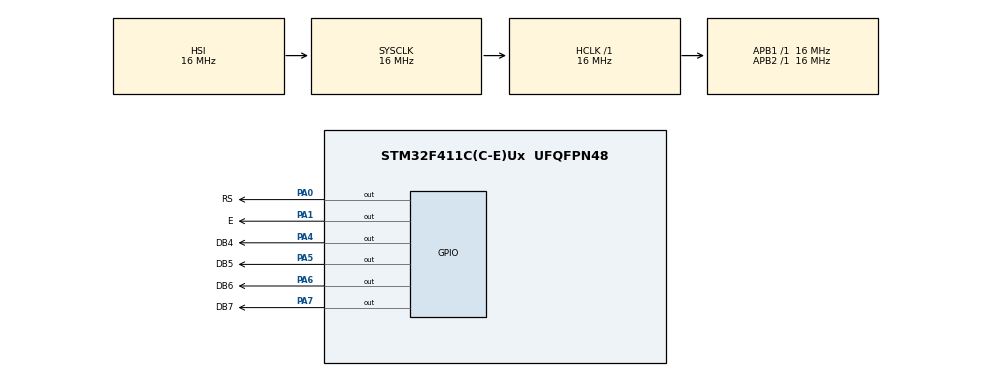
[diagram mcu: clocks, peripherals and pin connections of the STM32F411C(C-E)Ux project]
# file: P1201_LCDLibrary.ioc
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Mcu.Family=STM32F4
Mcu.Name=STM32F411C(C-E)Ux
Mcu.Package=UFQFPN48
NVIC.PriorityGroup=NVIC_PRIORITYGROUP_4
PA0-WKUP.GPIO_Label=RS
PA0-WKUP.Signal=GPIO_Output
PA1.GPIO_Label=E
PA1.Signal=GPIO_Output
PA4.GPIO_Label=DB4
PA4.Signal=GPIO_Output
PA5.GPIO_Label=DB5
PA5.Signal=GPIO_Output
PA6.GPIO_Label=DB6
PA6.Signal=GPIO_Output
PA7.GPIO_Label=DB7
PA7.Signal=GPIO_Output
ProjectManager.HeapSize=0x200
ProjectManager.StackSize=0x400
ProjectManager.TargetToolchain=STM32CubeIDE
RCC.AHBFreq_Value=16000000
RCC.APB1Freq_Value=16000000
RCC.APB2Freq_Value=16000000
RCC.CortexFreq_Value=16000000
RCC.HSE_VALUE=25000000
RCC.HSI_VALUE=16000000
RCC.LSE_VALUE=32768
RCC.SYSCLKFreq_VALUE=16000000
RCC.VCOOutputFreq_Value=192000000
board=custom

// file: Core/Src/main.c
/* USER CODE BEGIN Header */
/**
  ******************************************************************************
  * @file           : main.c
  * @brief          : Main program body
  ******************************************************************************
  * @attention
  *
  * Copyright (c) 2025 STMicroelectronics.
  * All rights reserved.
  *
  * This software is licensed under terms that can be found in the LICENSE file
  * in the root directory of this software component.
  * If no LICENSE file comes with this software, it is provided AS-IS.
  *
  ******************************************************************************
  */
/* USER CODE END Header */
#include "main.h"
#include "lcd_library.h"

/* USER CODE BEGIN PTD */
LCD_HandleTypeDef LCD16X2;
/* USER CODE END PTD */

void SystemClock_Config(void);
static void MX_GPIO_Init(void);

int main(void)
{

  /* USER CODE BEGIN 1 */
	LCD16X2.RsPort = GPIOA;
	LCD16X2.RsPin = GPIO_PIN_0;
	LCD16X2.EPort = GPIOA;
	LCD16X2.EPin = GPIO_PIN_1;
	LCD16X2.DB4Port = GPIOA;
	LCD16X2.DB4Pin = GPIO_PIN_4;
	LCD16X2.DB5Port = GPIOA;
	LCD16X2.DB5Pin = GPIO_PIN_5;
	LCD16X2.DB6Port = GPIOA;
	LCD16X2.DB6Pin = GPIO_PIN_6;
	LCD16X2.DB7Port = GPIOA;
	LCD16X2.DB7Pin = GPIO_PIN_7;
  /* USER CODE END 1 */

  /* MCU Configuration--------------------------------------------------------*/

  /* Reset of all peripherals, Initializes the Flash interface and the Systick. */
  HAL_Init();

  /* Configure the system clock */
  SystemClock_Config();

  /* Initialize all configured peripherals */
  MX_GPIO_Init();
  /* USER CODE BEGIN 2 */
  char s1[11] = "Hello";

  char s2[13] = "World!";
   lcd_init(&LCD16X2);
   lcd_set_position(&LCD16X2,0,0);
   lcd_write_data(&LCD16X2,s1,6);
   lcd_set_position(&LCD16X2,1,0);
   lcd_write_data(&LCD16X2,s2,12);
  /* USER CODE END 2 */

  /* Infinite loop */
  while (1)
  {

  }
}

void SystemClock_Config(void)
{
  RCC_OscInitTypeDef RCC_OscInitStruct = {0};
  RCC_ClkInitTypeDef RCC_ClkInitStruct = {0};

  /** Configure the main internal regulator output voltage
  */
  __HAL_RCC_PWR_CLK_ENABLE();
  __HAL_PWR_VOLTAGESCALING_CONFIG(PWR_REGULATOR_VOLTAGE_SCALE1);

  /** Initializes the RCC Oscillators according to the specified parameters
  * in the RCC_OscInitTypeDef structure.
  */
  RCC_OscInitStruct.OscillatorType = RCC_OSCILLATORTYPE_HSI;
  RCC_OscInitStruct.HSIState = RCC_HSI_ON;
  RCC_OscInitStruct.HSICalibrationValue = RCC_HSICALIBRATION_DEFAULT;
  RCC_OscInitStruct.PLL.PLLState = RCC_PLL_NONE;
  if (HAL_RCC_OscConfig(&RCC_OscInitStruct) != HAL_OK)
  {
    Error_Handler();
  }

  /** Initializes the CPU, AHB and APB buses clocks
  */
  RCC_ClkInitStruct.ClockType = RCC_CLOCKTYPE_HCLK|RCC_CLOCKTYPE_SYSCLK
                              |RCC_CLOCKTYPE_PCLK1|RCC_CLOCKTYPE_PCLK2;
  RCC_ClkInitStruct.SYSCLKSource = RCC_SYSCLKSOURCE_HSI;
  RCC_ClkInitStruct.AHBCLKDivider = RCC_SYSCLK_DIV1;
  RCC_ClkInitStruct.APB1CLKDivider = RCC_HCLK_DIV1;
  RCC_ClkInitStruct.APB2CLKDivider = RCC_HCLK_DIV1;

  if (HAL_RCC_ClockConfig(&RCC_ClkInitStruct, FLASH_LATENCY_0) != HAL_OK)
  {
    Error_Handler();
  }
}

static void MX_GPIO_Init(void)
{
  GPIO_InitTypeDef GPIO_InitStruct = {0};

  /* GPIO Ports Clock Enable */
  __HAL_RCC_GPIOA_CLK_ENABLE();

  /*Configure GPIO pin Output Level */
  HAL_GPIO_WritePin(GPIOA, RS_Pin|E_Pin|DB4_Pin|DB5_Pin
                          |DB6_Pin|DB7_Pin, GPIO_PIN_RESET);

  /*Configure GPIO pins : RS_Pin E_Pin DB4_Pin DB5_Pin
                           DB6_Pin DB7_Pin */
  GPIO_InitStruct.Pin = RS_Pin|E_Pin|DB4_Pin|DB5_Pin
                          |DB6_Pin|DB7_Pin;
  GPIO_InitStruct.Mode = GPIO_MODE_OUTPUT_PP;
  GPIO_InitStruct.Pull = GPIO_NOPULL;
  GPIO_InitStruct.Speed = GPIO_SPEED_FREQ_LOW;
  HAL_GPIO_Init(GPIOA, &GPIO_InitStruct);

}

void Error_Handler(void)
{
  __disable_irq();
  while (1)
  {
  }
}
